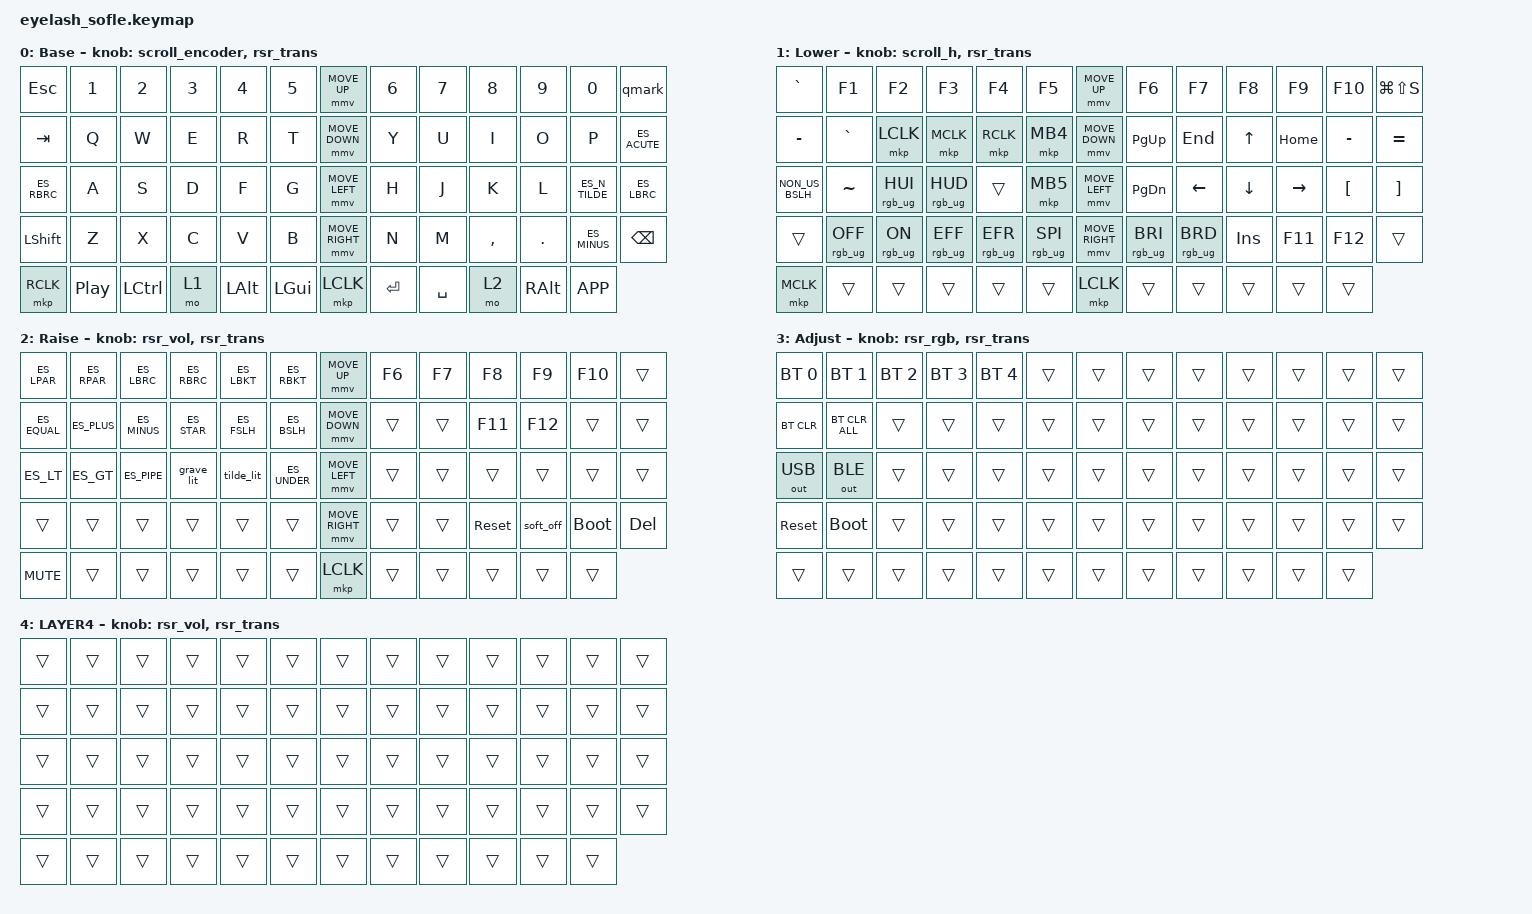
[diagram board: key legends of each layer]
#define ZMK_POINTING_DEFAULT_MOVE_VAL 1200  // 600
#define ZMK_POINTING_DEFAULT_SCRL_VAL 25   // 10

#include <input/processors.dtsi>
#include <zephyr/dt-bindings/input/input-event-codes.h>
#include <behaviors.dtsi>
#include <behaviors/runtime-sensor-rotate.dtsi>
#include <dt-bindings/zmk/bt.h>
#include <dt-bindings/zmk/keys.h>
#include <dt-bindings/zmk/outputs.h>
#include <dt-bindings/zmk/pointing.h>
#include <dt-bindings/zmk/rgb.h>
#include "keys_es_latin_american.h"

&mmv_input_listener { input-processors = <&zip_xy_scaler 2 1>; };

&msc_input_listener { input-processors = <&zip_scroll_scaler 2 1>; };

&msc {
    acceleration-exponent = <1>;      // 0
    time-to-max-speed-ms = <100>;       // 300
    delay-ms = <0>;                   // 0
};

&mmv {
    time-to-max-speed-ms = <500>;
    acceleration-exponent = <1>;
    trigger-period-ms = <16>;
};

&soft_off { hold-time-ms = <2000>; };

/ {
    // Encoder: scroll vertical (capa Base)
    scroll_encoder: scroll_encoder {
        compatible = "zmk,behavior-sensor-rotate";
        #sensor-binding-cells = <0>;
        bindings = <&msc SCRL_DOWN>, <&msc SCRL_UP>;
        tap-ms = <100>;
    };

    // Encoder: scroll horizontal (capa LOWER)
    scroll_h: scroll_h {
        compatible = "zmk,behavior-sensor-rotate";
        #sensor-binding-cells = <0>;
        bindings = <&msc SCRL_RIGHT>, <&msc SCRL_LEFT>;
        tap-ms = <100>;
    };

    behaviors {
        // Encoder: volumen (capa RAISE)
        rsr_vol: rsr_vol {
            compatible = "zmk,behavior-runtime-sensor-rotate";
            #sensor-binding-cells = <0>;
            tap-ms = <5>;
            cw-binding = <&kp C_VOL_UP>;
            ccw-binding = <&kp C_VOL_DN>;
        };

        // Encoder: brillo RGB (capa AJUSTE)
        rsr_rgb: rsr_rgb {
            compatible = "zmk,behavior-runtime-sensor-rotate";
            #sensor-binding-cells = <0>;
            tap-ms = <5>;
            cw-binding = <&rgb_ug RGB_BRI>;
            ccw-binding = <&rgb_ug RGB_BRD>;
        };

        rsr_trans: rsr_trans {
            compatible = "zmk,behavior-runtime-sensor-rotate";
            #sensor-binding-cells = <0>;
            tap-ms = <0>;
        };
    };

    // Tecla "¿": tap=¿ · Shift=¡ · AltGr=? (envia Shift+MINUS = ? en Latam)
    qmark: qmark {
        compatible = "zmk,behavior-mod-morph";
        #binding-cells = <0>;
        bindings = <&kp EQUAL>, <&kp LS(MINUS)>;
        mods = <(MOD_RALT)>;
    };

    // AJUSTE = LOWER + RAISE mantenidas juntas
    conditional_layers {
        compatible = "zmk,conditional-layers";
        tri_layer {
            if-layers = <1 2>;
            then-layer = <3>;
        };
    };

    combos {
        compatible = "zmk,combos";

        softoff {
            bindings = <&soft_off>;
            key-positions = <14 28 40>;
        };
    };

    macros {
        SHIFT_MCLK: SHIFT_MCLK {
            compatible = "zmk,behavior-macro";
            #binding-cells = <0>;
            bindings =
                <&macro_press>,
                <&kp LEFT_SHIFT>,
                <&macro_press>,
                <&mkp MB3>,
                <&macro_pause_for_release>,
                <&macro_release>,
                <&kp LEFT_SHIFT &mkp MB3>;

            label = "SHIFT_MCLK";
        };

        // Tecla muerta + espacio = backtick literal (en Latam ` es muerta)
        grave_lit: grave_lit {
            compatible = "zmk,behavior-macro";
            #binding-cells = <0>;
            bindings = <&kp ES_GRAVE>, <&kp SPACE>;
            label = "GRAVE_LIT";
        };

        // Tecla muerta + espacio = ~ literal (en Latam ~ es muerta)
        tilde_lit: tilde_lit {
            compatible = "zmk,behavior-macro";
            #binding-cells = <0>;
            bindings = <&kp ES_TILDE>, <&kp SPACE>;
            label = "TILDE_LIT";
        };
    };

    keymap {
        compatible = "zmk,keymap";

        // ===== BASE =====
        // Columna central = joystick (mueve el mouse). Pulgar central = click izq. Encoder press = click der.
        layer0 {
            bindings = <
&kp ESC     &kp N1     &kp N2     &kp N3     &kp N4    &kp N5      &mmv MOVE_UP     &kp N6   &kp N7     &kp N8     &kp N9    &kp N0     &qmark
&kp TAB     &kp Q      &kp W      &kp E      &kp R     &kp T       &mmv MOVE_DOWN   &kp Y    &kp U      &kp I      &kp O     &kp P      &kp ES_ACUTE
&kp ES_RBRC &kp A      &kp S      &kp D      &kp F     &kp G       &mmv MOVE_LEFT   &kp H    &kp J      &kp K      &kp L     &kp ES_N_TILDE  &kp ES_LBRC
&kp LSHFT   &kp Z      &kp X      &kp C      &kp V     &kp B       &mmv MOVE_RIGHT  &kp N    &kp M      &kp COMMA  &kp DOT   &kp ES_MINUS    &kp BSPC
&mkp RCLK   &kp C_PP   &kp LCTRL  &mo 1      &kp LALT  &kp LGUI    &mkp LCLK        &kp RET  &kp SPACE  &mo 2      &kp RALT  &kp K_APP
            >;
            sensor-bindings = <&scroll_encoder &rsr_trans>;
            display-name = "Base";
        };

        // ===== LOWER =====  encoder: scroll lateral + click medio
        layer_1 {
            bindings = <
&kp GRAVE       &kp F1           &kp F2          &kp F3           &kp F4           &kp F5             &mmv MOVE_UP     &kp F6           &kp F7           &kp F8      &kp F9     &kp F10           &kp LG(LS(S))
&kp MINUS       &kp GRAVE        &mkp LCLK       &mkp MCLK        &mkp RCLK        &mkp MB4           &mmv MOVE_DOWN   &kp PG_UP        &kp END          &kp UP      &kp HOME   &kp MINUS         &kp EQUAL
&kp NON_US_BSLH &kp TILDE        &rgb_ug RGB_HUI &rgb_ug RGB_HUD  &trans           &mkp MB5           &mmv MOVE_LEFT   &kp PG_DN        &kp LEFT         &kp DOWN    &kp RIGHT  &kp LEFT_BRACKET  &kp RIGHT_BRACKET
&trans      &rgb_ug RGB_OFF  &rgb_ug RGB_ON  &rgb_ug RGB_EFF  &rgb_ug RGB_EFR  &rgb_ug RGB_SPI    &mmv MOVE_RIGHT  &rgb_ug RGB_BRI  &rgb_ug RGB_BRD  &kp INSERT  &kp F11    &kp F12           &trans
&mkp MCLK   &trans           &trans          &trans           &trans           &trans             &mkp LCLK        &trans           &trans           &trans      &trans     &trans
            >;
            sensor-bindings = <&scroll_h &rsr_trans>;
            display-name = "Lower";
        };

        // ===== RAISE =====  encoder: volumen + mute
        layer_2 {
            bindings = <
&kp ES_LPAR   &kp ES_RPAR  &kp ES_LBRC  &kp ES_RBRC  &kp ES_LBKT  &kp ES_RBKT    &mmv MOVE_UP     &kp F6  &kp F7  &kp F8      &kp F9     &kp F10      &trans
&kp ES_EQUAL  &kp ES_PLUS  &kp ES_MINUS &kp ES_STAR  &kp ES_FSLH  &kp ES_BSLH    &mmv MOVE_DOWN   &trans  &trans  &kp F11     &kp F12    &trans       &trans
&kp ES_LT     &kp ES_GT    &kp ES_PIPE  &grave_lit   &tilde_lit   &kp ES_UNDER   &mmv MOVE_LEFT   &trans  &trans  &trans      &trans     &trans       &trans
&trans        &trans       &trans       &trans       &trans       &trans         &mmv MOVE_RIGHT  &trans  &trans  &sys_reset  &soft_off  &bootloader  &kp DEL
&kp C_MUTE    &trans       &trans       &trans       &trans       &trans         &mkp LCLK        &trans  &trans  &trans      &trans     &trans
            >;
            sensor-bindings = <&rsr_vol &rsr_trans>;
            display-name = "Raise";
        };

        // ===== AJUSTE =====  Bluetooth / output / reset · encoder: brillo RGB
        layer_3 {
            bindings = <
&bt BT_SEL 0  &bt BT_SEL 1   &bt BT_SEL 2  &bt BT_SEL 3  &bt BT_SEL 4  &trans    &trans  &trans  &trans  &trans  &trans  &trans  &trans
&bt BT_CLR    &bt BT_CLR_ALL &trans        &trans        &trans        &trans    &trans  &trans  &trans  &trans  &trans  &trans  &trans
&out OUT_USB  &out OUT_BLE   &trans        &trans        &trans        &trans    &trans  &trans  &trans  &trans  &trans  &trans  &trans
&sys_reset    &bootloader    &trans        &trans        &trans        &trans    &trans  &trans  &trans  &trans  &trans  &trans  &trans
&trans        &trans         &trans        &trans        &trans        &trans    &trans  &trans  &trans  &trans  &trans  &trans
            >;
            sensor-bindings = <&rsr_rgb &rsr_trans>;
            display-name = "Adjust";
        };

        layer_4 {
            bindings = <
&trans  &trans  &trans  &trans  &trans  &trans    &trans  &trans  &trans  &trans  &trans  &trans  &trans
&trans  &trans  &trans  &trans  &trans  &trans    &trans  &trans  &trans  &trans  &trans  &trans  &trans
&trans  &trans  &trans  &trans  &trans  &trans    &trans  &trans  &trans  &trans  &trans  &trans  &trans
&trans  &trans  &trans  &trans  &trans  &trans    &trans  &trans  &trans  &trans  &trans  &trans  &trans
&trans  &trans  &trans  &trans  &trans  &trans    &trans  &trans  &trans  &trans  &trans  &trans
            >;
            sensor-bindings = <&rsr_vol &rsr_trans>;
            display-name = "LAYER4";
        };
    };
};
